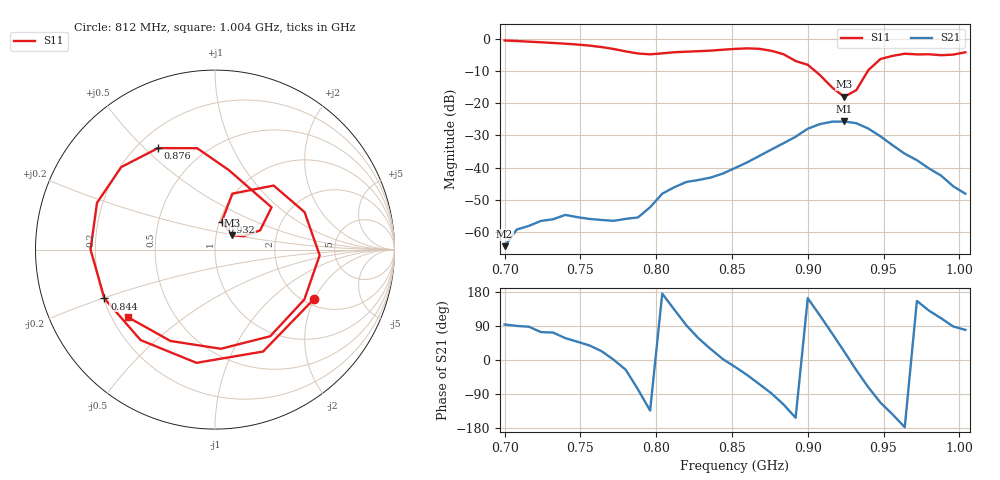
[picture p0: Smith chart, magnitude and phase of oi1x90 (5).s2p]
# Hz S RI R 50
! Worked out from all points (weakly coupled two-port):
!   39 points, 700 MHz to 1.004 GHz, reference 50 ohm
!   highest |S21| = -25.67 dB at 924 MHz (marker M1); lowest = -64.3 dB at 700 MHz (marker M2)
!   lowest |S11| = -18.0 dB at 924 MHz (marker M3), VSWR 1.29, Z = 59.9 + j9.65 ohm
!   |S11| at or under -10 dB: 904.8 MHz to 939.7 MHz (34.86 MHz wide, 3.78 % of centre)
!   S12 and S22 are empty: the file has one direction only
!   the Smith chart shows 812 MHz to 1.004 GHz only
!   S11 on the Smith chart (normalised r, x): 812 MHz: 2.23, -1.99; 844 MHz: 0.20, -0.20; 876 MHz: 0.28, +0.55; 932 MHz: 1.03, +0.33; 1.004 GHz: 0.27, -0.32
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7e8  0.7547 0.5557  -3.99e-05 0.000609  0 0  0 0
7.24e8  0.8417 -0.2492  0.000424 0.00144  0 0  0 0
7.4e8  0.4572 -0.6988  0.000993 0.00157  0 0  0 0
7.56e8  -0.1885 -0.7572  0.00126 0.001  0 0  0 0
7.72e8  -0.6601 -0.2045  0.00151 1.46e-05  0 0  0 0
7.8e8  -0.5941 0.2212  0.00145 -0.000712  0 0  0 0
7.88e8  -0.2524 0.5316  0.000361 -0.00166  0 0  0 0
7.96e8  0.2371 0.5198  -0.00169 -0.00178  0 0  0 0
8.04e8  0.565 0.1753  -0.00395 0.000329  0 0  0 0
8.12e8  0.5507 -0.2764  -0.00339 0.00368  0 0  0 0
8.28e8  -0.1034 -0.6309  0.00353 0.00543  0 0  0 0
8.44e8  -0.6162 -0.2724  0.00813 0.000328  0 0  0 0
8.52e8  -0.6935 0.000439  0.00941 -0.00308  0 0  0 0
8.76e8  -0.3172 0.5656  0.000709 -0.0192  0 0  0 0
9e8  0.3151 0.2355  -0.0385 0.0117  0 0  0 0
9.08e8  0.2513 0.1072  -0.022 0.042  0 0  0 0
9.24e8  0.0974 0.0792  0.0481 0.0199  0 0  0 0
9.32e8  0.0372 0.1546  0.0439 -0.0218  0 0  0 0
9.48e8  0.3268 0.3568  -0.0118 -0.0283  0 0  0 0
9.56e8  0.4991 0.2087  -0.018 -0.0132  0 0  0 0
9.8e8  0.3077 -0.4828  -0.00629 0.00745  0 0  0 0
1.004e9  -0.485 -0.3767  0.000722 0.00389  0 0  0 0
